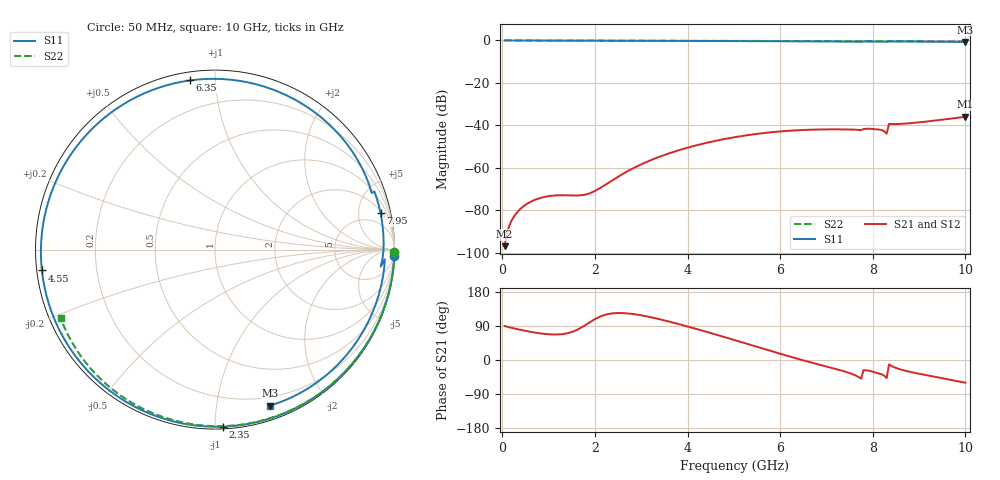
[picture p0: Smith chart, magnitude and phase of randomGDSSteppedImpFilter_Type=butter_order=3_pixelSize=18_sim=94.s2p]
! freq	dB(S11)	phase(S11)	dB(S12)	phase(S12)
!  dB(S21)	phase(S21)	dB(S22)	phase(S22)
!S-par simulation data
#  GHz  S  DB  R 50
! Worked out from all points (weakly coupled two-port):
!   200 points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, 50 MHz to 10 GHz, reference 50 ohm
!   highest |S21| = -35.96 dB at 10 GHz (marker M1); lowest = -97.0 dB at 50 MHz (marker M2)
!   lowest |S11| = -0.7 dB at 10 GHz (marker M3), VSWR 24.39, Z = 6.1 - j70.1 ohm
!   |S11| at or under -10 dB: nowhere
!   |S22| runs from -0.5 to 0.0 dB; largest |S21 - S12| = 0
!   S11 on the Smith chart (normalised r, x): 50 MHz: 0, -60; 2.35 GHz: 0.01, -1.05; 4.55 GHz: 0.01, -0.06; 6.35 GHz: 0.04, +0.86; 7.95 GHz: 2.28, +8.60; 10 GHz: 0.12, -1.40
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0.05  -0.00 -1.9  -96.96 89.6  -96.96 89.6  -0.00 -0.9
0.35  -0.02 -13.2  -80.26 80.7  -80.26 80.7  -0.01 -6.3
0.65  -0.03 -24.4  -75.64 73.4  -75.64 73.4  -0.01 -11.7
0.95  -0.05 -35.6  -73.58 68.4  -73.58 68.4  -0.02 -17.0
1.75  -0.08 -65.3  -72.83 88.8  -72.83 88.8  -0.04 -31.0
2  -0.09 -74.5  -70.94 107.9  -70.94 107.9  -0.05 -35.3
2.35  -0.11 -87.4  -66.24 122.5  -66.24 122.5  -0.05 -41.3
2.85  -0.14 -105.9  -59.97 120.9  -59.97 120.9  -0.06 -49.7
3.4  -0.17 -126.7  -54.76 107.5  -54.76 107.5  -0.08 -58.8
4  -0.21 -150.2  -50.54 88.5  -50.54 88.5  -0.09 -68.5
4.55  -0.25 -173.2  -47.58 69.4  -47.58 69.4  -0.11 -77.2
5.05  -0.30 164.5  -45.48 51.3  -45.48 51.3  -0.13 -84.8
5.65  -0.35 135.4  -43.63 29.3  -43.63 29.3  -0.16 -93.9
6.35  -0.42 98.3  -42.35 4.2  -42.35 4.2  -0.19 -104.1
6.7  -0.45 78.9  -42.04 -7.6  -42.04 -7.6  -0.21 -109.2
7.35  -0.51 42.6  -41.92 -28.6  -41.92 -28.6  -0.26 -118.5
7.95  -0.49 12.4  -41.64 -29.2  -41.64 -29.2  -0.31 -126.9
8.2  -0.55 -0.4  -42.31 -38.1  -42.31 -38.1  -0.33 -130.5
8.3  -0.65 -5.9  -43.92 -47.7  -43.92 -47.7  -0.34 -131.9
8.35  -0.46 -3.3  -39.35 -11.7  -39.35 -11.7  -0.34 -132.5
9.15  -0.55 -39.7  -38.24 -39.8  -38.24 -39.8  -0.42 -143.8
10  -0.71 -70.7  -35.96 -60.0  -35.96 -60.0  -0.53 -156.1
